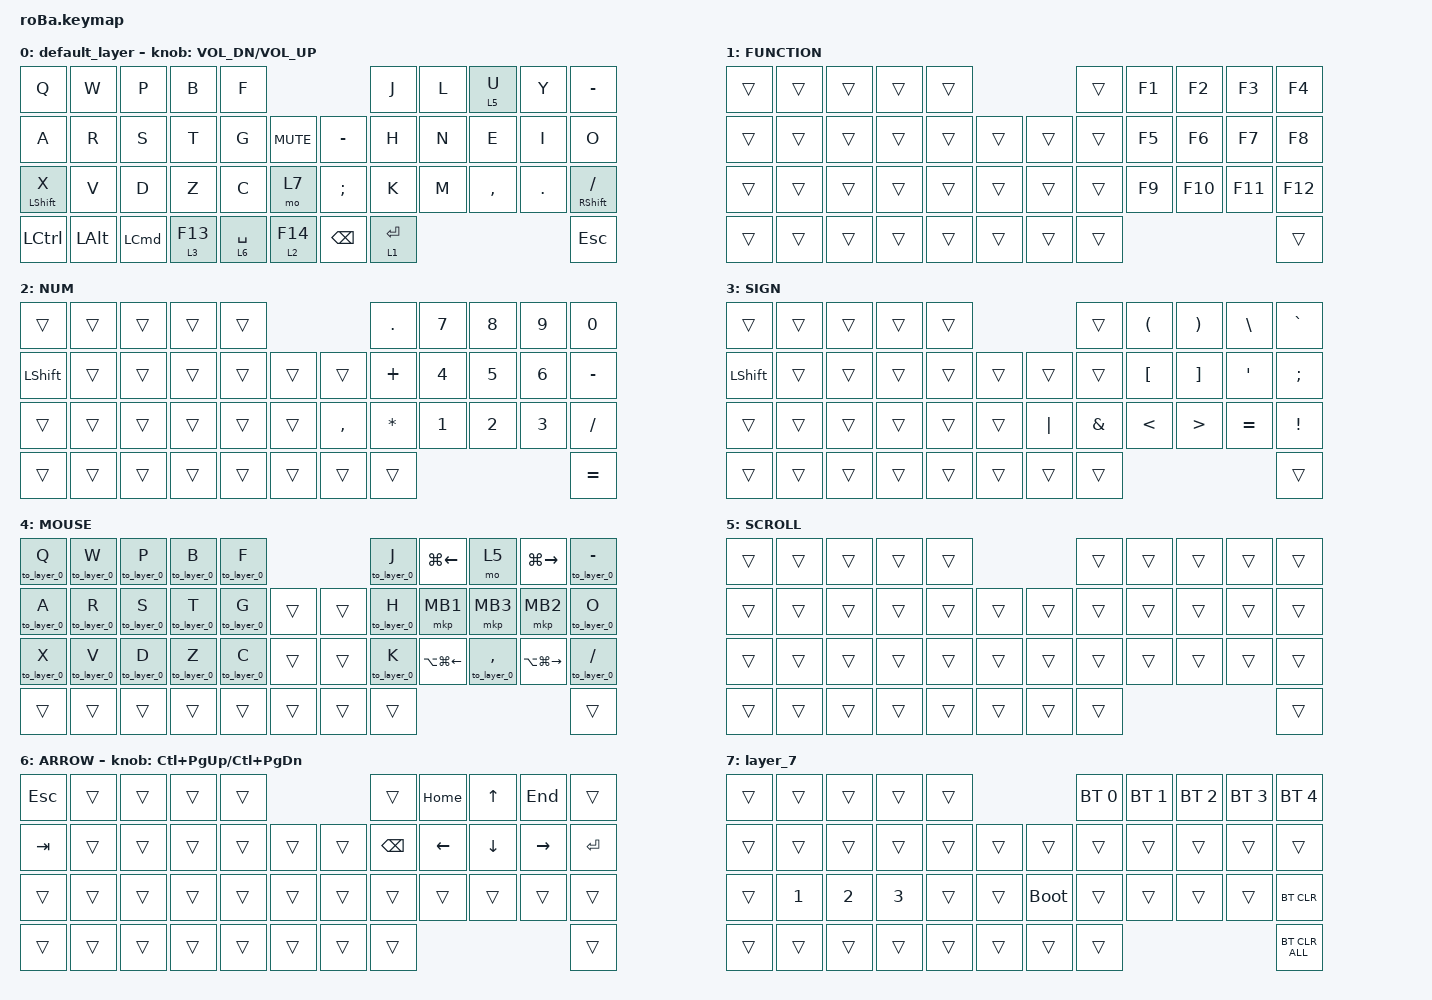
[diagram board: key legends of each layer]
#include <behaviors.dtsi>
#include <dt-bindings/zmk/bt.h>
#include <dt-bindings/zmk/keys.h>
#include <dt-bindings/zmk/pointing.h>
#include <input/processors.dtsi>

&mkp_input_listener {
    input-processors = <&zip_temp_layer 4 180>;
};

&mt {
    flavor = "balanced";
    quick-tap-ms = <0>;
};

&trackball {
    automouse-layer = <4>;
    scroll-layers = <5>;

    // arrows {
    //     layers = <3>;
    //     bindings =
    //         <&kp RIGHT_ARROW>,
    //         <&kp LEFT_ARROW>,
    //         <&kp UP_ARROW>,
    //         <&kp DOWN_ARROW>;
    //     tick = <10>;
    //     wait-ms = <5>;
    //     tap-ms = <5>;
    // };
};

/ {
    combos { compatible = "zmk,combos"; };

    macros {
        to_layer_0: to_layer_0 {
            compatible = "zmk,behavior-macro-one-param";
            #binding-cells = <1>;
            bindings = <&to 0 &macro_param_1to1 &kp MACRO_PLACEHOLDER>;
            label = "TO_LAYER_0";
        };
    };

    behaviors {
        lt_to_layer_0: lt_to_layer_0 {
            compatible = "zmk,behavior-hold-tap";
            label = "LAYER_TAP_TO_0";
            bindings = <&mo>, <&to_layer_0>;

            #binding-cells = <2>;
            tapping-term-ms = <200>;
        };
    };

    keymap {
        compatible = "zmk,keymap";

        default_layer {
            bindings = <
&kp Q             &kp W         &kp P             &kp B                 &kp F                                                 &kp J        &kp L  &lt 5 U    &kp Y    &kp MINUS
&kp A             &kp R         &kp S             &kp T                 &kp G        &kp K_MUTE                &kp MINUS      &kp H        &kp N  &kp E      &kp I    &kp O
&mt LEFT_SHIFT X  &kp V         &kp D             &kp Z                 &kp C        &mo 7                     &kp SEMICOLON  &kp K        &kp M  &kp COMMA  &kp DOT  &mt RIGHT_SHIFT SLASH
&kp LCTRL         &kp LEFT_ALT  &kp LEFT_COMMAND  &lt_to_layer_0 3 F13  &lt 6 SPACE  &lt_to_layer_0 2 F14      &kp BACKSPACE  &lt 1 ENTER                             &kp ESCAPE
            >;

            sensor-bindings = <&inc_dec_kp C_VOL_DN C_VOL_UP>;
        };

        FUNCTION {
            bindings = <
&trans  &trans  &trans  &trans  &trans                      &trans  &kp F1  &kp F2   &kp F3   &kp F4
&trans  &trans  &trans  &trans  &trans  &trans      &trans  &trans  &kp F5  &kp F6   &kp F7   &kp F8
&trans  &trans  &trans  &trans  &trans  &trans      &trans  &trans  &kp F9  &kp F10  &kp F11  &kp F12
&trans  &trans  &trans  &trans  &trans  &trans      &trans  &trans                            &trans
            >;
        };

        NUM {
            bindings = <
&trans     &trans  &trans  &trans  &trans                         &kp DOT       &kp NUMBER_7  &kp NUMBER_8  &kp N9        &kp NUMBER_0
&kp LSHFT  &trans  &trans  &trans  &trans  &trans      &trans     &kp PLUS      &kp NUMBER_4  &kp NUMBER_5  &kp NUMBER_6  &kp MINUS
&trans     &trans  &trans  &trans  &trans  &trans      &kp COMMA  &kp ASTERISK  &kp NUMBER_1  &kp NUMBER_2  &kp NUMBER_3  &kp SLASH
&trans     &trans  &trans  &trans  &trans  &trans      &trans     &trans                                                  &kp EQUAL
            >;
        };

        SIGN {
            bindings = <
&trans          &trans  &trans  &trans  &trans                        &trans         &kp LEFT_PARENTHESIS  &kp RIGHT_PARENTHESIS  &kp BACKSLASH  &kp GRAVE
&kp LEFT_SHIFT  &trans  &trans  &trans  &trans  &trans      &trans    &trans         &kp LEFT_BRACKET      &kp RIGHT_BRACKET      &kp SQT        &kp SEMICOLON
&trans          &trans  &trans  &trans  &trans  &trans      &kp PIPE  &kp AMPERSAND  &kp LESS_THAN         &kp GREATER_THAN       &kp EQUAL      &kp EXCLAMATION
&trans          &trans  &trans  &trans  &trans  &trans      &trans    &trans                                                                     &trans
            >;
        };

        MOUSE {
            bindings = <
&to_layer_0 Q  &to_layer_0 W  &to_layer_0 P  &to_layer_0 B  &to_layer_0 F                      &to_layer_0 J  &kp LG(LEFT_ARROW)  &mo 5              &kp LG(RIGHT)      &to_layer_0 MINUS
&to_layer_0 A  &to_layer_0 R  &to_layer_0 S  &to_layer_0 T  &to_layer_0 G  &trans      &trans  &to_layer_0 H  &mkp MB1            &mkp MB3           &mkp MB2           &to_layer_0 O
&to_layer_0 X  &to_layer_0 V  &to_layer_0 D  &to_layer_0 Z  &to_layer_0 C  &trans      &trans  &to_layer_0 K  &kp LA(LG(LEFT))    &to_layer_0 COMMA  &kp LA(LG(RIGHT))  &to_layer_0 SLASH
&trans         &trans         &trans         &trans         &trans         &trans      &trans  &trans                                                                   &trans
            >;
        };

        SCROLL {
            bindings = <
&trans  &trans  &trans  &trans  &trans                      &trans  &trans  &trans  &trans  &trans
&trans  &trans  &trans  &trans  &trans  &trans      &trans  &trans  &trans  &trans  &trans  &trans
&trans  &trans  &trans  &trans  &trans  &trans      &trans  &trans  &trans  &trans  &trans  &trans
&trans  &trans  &trans  &trans  &trans  &trans      &trans  &trans                          &trans
            >;
        };

        ARROW {
            bindings = <
&kp ESCAPE  &trans  &trans  &trans  &trans                      &trans         &kp HOME        &kp UP_ARROW    &kp END    &trans
&kp TAB     &trans  &trans  &trans  &trans  &trans      &trans  &kp BACKSPACE  &kp LEFT_ARROW  &kp DOWN_ARROW  &kp RIGHT  &kp ENTER
&trans      &trans  &trans  &trans  &trans  &trans      &trans  &trans         &trans          &trans          &trans     &trans
&trans      &trans  &trans  &trans  &trans  &trans      &trans  &trans                                                    &trans
            >;

            sensor-bindings = <&inc_dec_kp LC(PAGE_UP) LC(PAGE_DOWN)>;
        };

        layer_7 {
            bindings = <
&trans  &trans        &trans        &trans        &trans                           &bt BT_SEL 0  &bt BT_SEL 1  &bt BT_SEL 2  &bt BT_SEL 3  &bt BT_SEL 4
&trans  &trans        &trans        &trans        &trans  &trans      &trans       &trans        &trans        &trans        &trans        &trans
&trans  &kp NUMBER_1  &kp NUMBER_2  &kp NUMBER_3  &trans  &trans      &bootloader  &trans        &trans        &trans        &trans        &bt BT_CLR
&trans  &trans        &trans        &trans        &trans  &trans      &trans       &trans                                                  &bt BT_CLR_ALL
            >;
        };
    };
};
